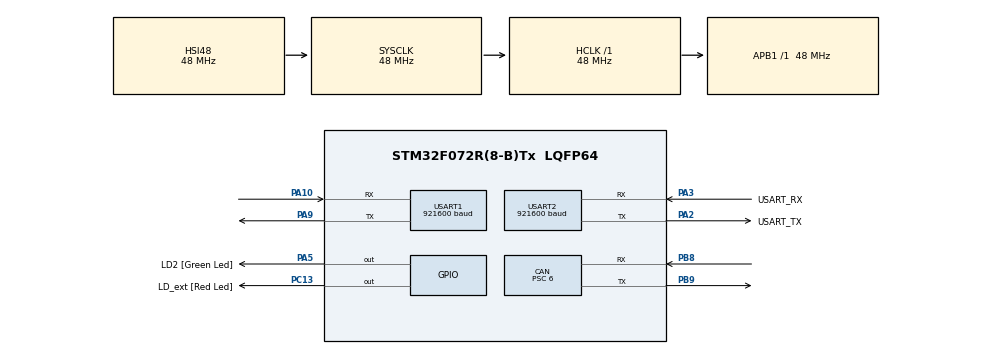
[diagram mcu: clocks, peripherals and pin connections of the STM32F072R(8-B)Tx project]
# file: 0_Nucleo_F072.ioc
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CAN.ABOM=ENABLE
CAN.AWUM=ENABLE
CAN.BS1=CAN_BS1_13TQ
CAN.BS2=CAN_BS2_2TQ
CAN.CalculateBaudRate=500000
CAN.CalculateTimeBit=2000
CAN.CalculateTimeQuantum=125.0
CAN.NART=DISABLE
CAN.Prescaler=6
Dma.Request0=USART1_RX
Dma.Request1=USART1_TX
Dma.Request2=USART2_TX
Dma.Request3=USART2_RX
Dma.USART1_RX.0.Direction=DMA_PERIPH_TO_MEMORY
Dma.USART1_RX.0.Instance=DMA1_Channel3
Dma.USART1_RX.0.MemDataAlignment=DMA_MDATAALIGN_BYTE
Dma.USART1_RX.0.MemInc=DMA_MINC_ENABLE
Dma.USART1_RX.0.Mode=DMA_NORMAL
Dma.USART1_RX.0.PeriphDataAlignment=DMA_PDATAALIGN_BYTE
Dma.USART1_RX.0.PeriphInc=DMA_PINC_DISABLE
Dma.USART1_RX.0.Priority=DMA_PRIORITY_LOW
Dma.USART1_TX.1.Direction=DMA_MEMORY_TO_PERIPH
Dma.USART1_TX.1.Instance=DMA1_Channel2
Dma.USART1_TX.1.MemDataAlignment=DMA_MDATAALIGN_BYTE
Dma.USART1_TX.1.MemInc=DMA_MINC_ENABLE
Dma.USART1_TX.1.Mode=DMA_NORMAL
Dma.USART1_TX.1.PeriphDataAlignment=DMA_PDATAALIGN_BYTE
Dma.USART1_TX.1.PeriphInc=DMA_PINC_DISABLE
Dma.USART1_TX.1.Priority=DMA_PRIORITY_LOW
Dma.USART2_RX.3.Direction=DMA_PERIPH_TO_MEMORY
Dma.USART2_RX.3.Instance=DMA1_Channel5
Dma.USART2_RX.3.MemDataAlignment=DMA_MDATAALIGN_BYTE
Dma.USART2_RX.3.MemInc=DMA_MINC_ENABLE
Dma.USART2_RX.3.Mode=DMA_NORMAL
Dma.USART2_RX.3.PeriphDataAlignment=DMA_PDATAALIGN_BYTE
Dma.USART2_RX.3.PeriphInc=DMA_PINC_DISABLE
Dma.USART2_RX.3.Priority=DMA_PRIORITY_LOW
Dma.USART2_TX.2.Direction=DMA_MEMORY_TO_PERIPH
Dma.USART2_TX.2.Instance=DMA1_Channel4
Dma.USART2_TX.2.MemDataAlignment=DMA_MDATAALIGN_BYTE
Dma.USART2_TX.2.MemInc=DMA_MINC_ENABLE
Dma.USART2_TX.2.Mode=DMA_NORMAL
Dma.USART2_TX.2.PeriphDataAlignment=DMA_PDATAALIGN_BYTE
Dma.USART2_TX.2.PeriphInc=DMA_PINC_DISABLE
Dma.USART2_TX.2.Priority=DMA_PRIORITY_LOW
Mcu.Family=STM32F0
Mcu.Name=STM32F072R(8-B)Tx
Mcu.Package=LQFP64
NVIC.CEC_CAN_IRQn=true\:0\:0\:false\:false\:true\:true\:true\:true
NVIC.DMA1_Channel2_3_IRQn=true\:0\:0\:false\:false\:true\:false\:true\:true
NVIC.DMA1_Channel4_5_6_7_IRQn=true\:0\:0\:false\:false\:true\:false\:true\:true
NVIC.TIM17_IRQn=true\:0\:0\:false\:false\:true\:true\:true\:true
NVIC.USART1_IRQn=true\:0\:0\:false\:false\:true\:true\:true\:true
NVIC.USART2_IRQn=true\:0\:0\:false\:false\:true\:true\:true\:true
PA10.Mode=Asynchronous
PA10.Signal=USART1_RX
PA13.GPIO_Label=TMS
PA13.Mode=Serial_Wire
PA13.Signal=SYS_SWDIO
PA14.GPIO_Label=TCK
PA14.Mode=Serial_Wire
PA14.Signal=SYS_SWCLK
PA2.GPIO_Label=USART_TX
PA2.GPIO_Mode=GPIO_MODE_AF_PP
PA2.GPIO_PuPd=GPIO_NOPULL
PA2.GPIO_Speed=GPIO_SPEED_FREQ_LOW
PA2.Mode=Asynchronous
PA2.Signal=USART2_TX
PA3.GPIO_Label=USART_RX
PA3.GPIO_Mode=GPIO_MODE_AF_PP
PA3.GPIO_PuPd=GPIO_NOPULL
PA3.GPIO_Speed=GPIO_SPEED_FREQ_LOW
PA3.Mode=Asynchronous
PA3.Signal=USART2_RX
PA5.GPIO_Label=LD2 [Green Led]
PA5.GPIO_Mode=GPIO_MODE_OUTPUT_PP
PA5.GPIO_PuPd=GPIO_NOPULL
PA5.GPIO_Speed=GPIO_SPEED_FREQ_LOW
PA5.Signal=GPIO_Output
PA9.Mode=Asynchronous
PA9.Signal=USART1_TX
PB8.GPIO_PuPd=GPIO_PULLUP
PB8.Mode=CAN_Activate
PB8.Signal=CAN_RX
PB9.GPIO_PuPd=GPIO_PULLUP
PB9.Mode=CAN_Activate
PB9.Signal=CAN_TX
PC13.GPIO_Label=LD_ext [Red Led]
PC13.GPIO_ModeDefaultOutputPP=GPIO_MODE_OUTPUT_OD
PC13.GPIO_PuPd=GPIO_NOPULL
PC13.Signal=GPIO_Output
PC14-OSC32_IN.Mode=LSE-External-Oscillator
PC14-OSC32_IN.Signal=RCC_OSC32_IN
PC15-OSC32_OUT.Mode=LSE-External-Oscillator
PC15-OSC32_OUT.Signal=RCC_OSC32_OUT
PF0-OSC_IN.Mode=HSE-External-Clock-Source
PF0-OSC_IN.Signal=RCC_OSC_IN
PF1-OSC_OUT.Signal=RCC_OSC_OUT
ProjectManager.HeapSize=0x800
ProjectManager.StackSize=0x800
ProjectManager.TargetToolchain=STM32CubeIDE
RCC.AHBFreq_Value=48000000
RCC.APB1Freq_Value=48000000
RCC.APB1TimFreq_Value=48000000
RCC.FLatency-AdvancedSettings=FLASH_LATENCY_1
RCC.HCLKFreq_Value=48000000
RCC.PLLDivider=RCC_PREDIV_DIV2
RCC.PLLMUL=RCC_PLL_MUL12
RCC.PLLSourceVirtual=RCC_PLLSOURCE_HSE
RCC.PREFETCH_ENABLE-AdvancedSettings=1
RCC.SYSCLKFreq_VALUE=48000000
RCC.SYSCLKSource=RCC_SYSCLKSOURCE_HSI48
TIM17.Period=999
TIM17.Prescaler=47
USART1.BaudRate=921600
USART1.StopBits=STOPBITS_2
USART1.VirtualMode-Asynchronous=VM_ASYNC
USART2.BaudRate=921600
USART2.StopBits=STOPBITS_2
USART2.VirtualMode=VM_ASYNC
USART2.VirtualMode-Asynchronous=VM_ASYNC
VP_TIM17_VS_ClockSourceINT.Mode=Enable_Timer
board=NUCLEO-F072RB

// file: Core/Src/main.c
/* USER CODE BEGIN Header */
/**
  ******************************************************************************
  * @file           : main.c
  * @brief          : Main program body
  ******************************************************************************
  * @attention
  *
  * Copyright (c) 2022 STMicroelectronics.
  * All rights reserved.
  * Nucleo-F072
  *
  ******************************************************************************
  */
/* USER CODE END Header */
#include "main.h"
#include "can.h"
#include "dma.h"
#include "tim.h"
#include "usart.h"
#include "gpio.h"

/* USER CODE BEGIN Includes */
#include "CO_app_STM32.h"
#include "301/CO_SDOclient.h"
#include "CANopen.h"
#include "OD.h"

/* USER CODE END Includes */

/* USER CODE BEGIN PV */
uint8_t Tx_Array[16]={0x51,0x62,0x73,0x84,0x55,0x46,0x87,0x18,0x29,0x10,0x11,0x12,0x13,0x14,0x15,0x33};
uint8_t Rx_Array[16]={0};
uint32_t Array_32u[16]={0};
uint8_t Array_8u[16]={0x54,0x34,0x21,0xea,0xf3,0x7a,0xd4,0x46};
uint8_t Length_of_Ext_Var=0;

CAN_TxHeaderTypeDef Tx_Header;
uint32_t            TxMailbox;
uint32_t            tmp32u_1   = 0x1e1f1a1b;
uint32_t            tmp32u_0   = 0x0e0f0a0b;
uint64_t            tmp64u_0   = 0x0e1f1a1b56789a;
uint64_t            tmp64u_1   = 0x0e1f1a1b56789a;
uint32_t            Ticks;
char String_0[]={"String_for_Test_UART"};

/* USER CODE END PV */

void SystemClock_Config(void);

/* USER CODE BEGIN 0 */
/* Timer interrupt function executes every 1 ms */
void
HAL_TIM_PeriodElapsedCallback(TIM_HandleTypeDef* htim) {
    if (htim == canopenNodeSTM32->timerHandle) {
        canopen_app_interrupt();
    }
}

CO_SDO_abortCode_t
read_SDO (
		  CO_SDOclient_t* SDO_C,
		  uint8_t nodeId,
		  uint16_t index,
		  uint8_t subIndex,
		  uint8_t* buf,
		  size_t bufSize,
		  size_t* readSize
		  )
{
    CO_SDO_return_t SDO_ret;

    // setup client (this can be skipped, if remote device don't change)
    SDO_ret = CO_SDOclient_setup (
    								SDO_C, CO_CAN_ID_SDO_CLI + nodeId,
									CO_CAN_ID_SDO_SRV + nodeId,
									nodeId);

    if (SDO_ret != CO_SDO_RT_ok_communicationEnd) { return CO_SDO_AB_GENERAL; }

    // initiate upload
    SDO_ret = CO_SDOclientUploadInitiate ( SDO_C,
    										index,
											subIndex,
											1000,
											false);

    if (SDO_ret != CO_SDO_RT_ok_communicationEnd) { return CO_SDO_AB_GENERAL; }

    // upload data
    do 	{
        uint32_t timeDifference_us = 10000;
        CO_SDO_abortCode_t abortCode = CO_SDO_AB_NONE;

        SDO_ret = CO_SDOclientUpload(SDO_C, timeDifference_us, false, &abortCode, NULL, NULL, NULL);

        if (SDO_ret < 0) {  return abortCode;  }

        HAL_Delay(timeDifference_us/1000);// sleep_us(timeDifference_us);

    	} while (SDO_ret > 0);

    // copy data to the user buffer (for long data function must be called several times inside the loop)
    *readSize = CO_SDOclientUploadBufRead(SDO_C, buf, bufSize);

    return CO_SDO_AB_NONE;
}

CO_SDO_abortCode_t
write_SDO (
			CO_SDOclient_t* SDO_C,
			uint8_t nodeId,
			uint16_t index,
			uint8_t subIndex,
			uint8_t* data,
			size_t dataSize
			)
{
    CO_SDO_return_t SDO_ret;
    bool_t bufferPartial = false;

    // setup client (this can be skipped, if remote device is the same)
    SDO_ret = CO_SDOclient_setup (	SDO_C,
    								CO_CAN_ID_SDO_CLI + nodeId,
									CO_CAN_ID_SDO_SRV + nodeId,
									nodeId);

    if (SDO_ret != CO_SDO_RT_ok_communicationEnd) { return -1; }

    // initiate download
    SDO_ret = CO_SDOclientDownloadInitiate(SDO_C, index, subIndex, dataSize, 1000, false);

    if (SDO_ret != CO_SDO_RT_ok_communicationEnd) /**< Success, end of communication. SDO client: uploaded data must be read. */
    	{ return -1; }

    // fill data
    size_t nWritten = CO_SDOclientDownloadBufWrite(SDO_C, data, dataSize);

    if (nWritten < dataSize) { bufferPartial = true; } // If SDO Fifo buffer is too small, data can be refilled in the loop.

    // download data
    do {
        uint32_t timeDifference_us = 10000;
        CO_SDO_abortCode_t abortCode = CO_SDO_AB_NONE;

        SDO_ret = CO_SDOclientDownload (	SDO_C,
        									timeDifference_us,
											false, bufferPartial,
											&abortCode,
											NULL,
											NULL
										);

        if (SDO_ret < 0) {  return abortCode;}

        HAL_Delay(timeDifference_us/1000); //sleep_us(timeDifference_us);

       } while (SDO_ret > 0);

    return CO_SDO_AB_NONE;
}

/* USER CODE END 0 */

int main(void)
{

  /* MCU Configuration--------------------------------------------------------*/

  /* Reset of all peripherals, Initializes the Flash interface and the Systick. */
  HAL_Init();

  /* Configure the system clock */
  SystemClock_Config();

  /* Initialize all configured peripherals */
  MX_GPIO_Init();
  MX_DMA_Init();
  MX_USART2_UART_Init();
  MX_CAN_Init();
  MX_TIM17_Init();
  MX_USART1_UART_Init();
  /* USER CODE BEGIN 2 */
  /* CANHandle : Pass in the CAN Handle to this function and it wil be used for all CAN Communications. It can be FDCan or CAN
   * and CANOpenSTM32 Driver will take of care of handling that
   * HWInitFunction : Pass in the function that initialize the CAN peripheral, usually MX_CAN_Init
   * timerHandle : Pass in the timer that is going to be used for generating 1ms interrupt for tmrThread function,
   * please note that CANOpenSTM32 Library will override HAL_TIM_PeriodElapsedCallback function, if you also need this function
   * in your codes, please take required steps
   * desiredNodeID : This is the Node ID that you ask the CANOpen stack to assign to your device, although it might not always
   * be the final NodeID, after calling canopen_app_init() you should check ActiveNodeID of CANopenNodeSTM32 structure for assigned Node ID.
   * baudrate: This is the baudrate you've set in your CubeMX Configuration
   *
   */

//  HAL_Delay(500);
//  HAL_UART_Transmit_DMA( &huart2, (uint8_t*)(String_0), 10);
//  while (1){}
 #if 0
  Tx_Header.IDE    = CAN_ID_STD;
  Tx_Header.ExtId  = 0;
  Tx_Header.DLC    = 8;
  Tx_Header.StdId  = 0x7EC;
  Tx_Header.RTR    = CAN_RTR_DATA;
  HAL_CAN_Start(&hcan);  HAL_Delay(1500);

  if(HAL_CAN_AddTxMessage( &hcan,
    		               &Tx_Header,
							Tx_Array, &TxMailbox )==HAL_OK
  	 )
	  {  /* Wait transmission complete */
	  //while(HAL_CAN_GetTxMailboxesFreeLevel(&hcan) != 3) {}
		  for(uint8_t cnt=0;cnt<22;cnt++)
		  {
		   HAL_GPIO_TogglePin(LD2_GPIO_Port, LD2_Pin);
		   HAL_Delay(46);
		  }
	  }
#endif

  for(uint8_t cnt=0;cnt<50;cnt++)
  {
  	HAL_GPIO_TogglePin(GPIOA, GPIO_PIN_5 );
  	HAL_GPIO_TogglePin(GPIOC, GPIO_PIN_13 );
  HAL_Delay(33);
  }
 // HAL_GPIO_WritePin(GPIOA, GPIO_PIN_5, GPIO_PIN_RESET); HAL_Delay(2500);//off

  CANopenNodeSTM32 canOpenNodeSTM32;
  canOpenNodeSTM32.CANHandle = &hcan;
  canOpenNodeSTM32.HWInitFunction = MX_CAN_Init;
  canOpenNodeSTM32.timerHandle = &htim17;
  canOpenNodeSTM32.desiredNodeID = 0x48;			///72;	// = 0x21;
  canOpenNodeSTM32.baudrate = 125*4;
  canopen_app_init(&canOpenNodeSTM32);
  /* USER CODE END 2 */

  /* Infinite loop */
  /* USER CODE BEGIN WHILE */

	  read_SDO (
			    canOpenNodeSTM32.canOpenStack->SDOclient,
			  	103,										//remote desiredNodeID
				0x6047,										//Index_of_OD_variable_at_remote_NodeID
				0,											//Sub_Index_of_OD_variable
				Rx_Array,									//Saved_Received_Data
				4,											//Number_of_Byte_to_read
				(size_t*)&Length_of_Ext_Var );

	  HAL_Delay(100);

		huart2.gState = HAL_UART_STATE_READY;
		HAL_UART_Transmit_DMA( &huart2, (uint8_t*)Rx_Array, 8);

	  write_SDO(
			    canOpenNodeSTM32.canOpenStack->SDOclient,
			  	103,										//remote desiredNodeID
				0x6047,										//Index_of_OD_variable_at_remote_NodeID
				0,											//Sub_Index_of_OD_variable
				Array_8u,									//
				4);

	  HAL_Delay(100);

	  read_SDO (
			    canOpenNodeSTM32.canOpenStack->SDOclient,
			  	103,										//remote desiredNodeID
				0x6047,										//Index_of_OD_variable_at_remote_NodeID
				0,											//Sub_Index_of_OD_variable
				Rx_Array,									//Saved_Received_Data
				4,											//Number_of_Byte_to_read
				(size_t*)&Length_of_Ext_Var );

	  HAL_Delay(100);

		huart2.gState = HAL_UART_STATE_READY;
		HAL_UART_Transmit_DMA( &huart2, (uint8_t*)Rx_Array, 8);

		HAL_Delay(100);

  while (1)
  {
	  HAL_GPIO_WritePin(GPIOA, GPIO_PIN_5  , canOpenNodeSTM32.outStatusLEDGreen);//включение
	  HAL_GPIO_WritePin(GPIOC, GPIO_PIN_13 ,!canOpenNodeSTM32.outStatusLEDRed  );//включение с инверсией

	canopen_app_process();

//	if(tmp32u_1 != OD_PERSIST_COMM.x6001_nucleo_VAR32_6001)
//		{
//		tmp32u_1 = OD_PERSIST_COMM.x6001_nucleo_VAR32_6001;
//		huart2.gState = HAL_UART_STATE_READY;
//		HAL_UART_Transmit_DMA( &huart2, (uint8_t*)(&tmp32u_1), 4);
//		//HAL_UART_Transmit_DMA( &huart2, (uint8_t*)( Ticks ), 4);
//		}

	  if(HAL_GetTick() - Ticks>749)
	  {
		Ticks = HAL_GetTick();

		OD_PERSIST_COMM.x6000_nucleo_VAR32_6000++;
		tmp32u_0 = OD_PERSIST_COMM.x6000_nucleo_VAR32_6000;
//		OD_set_f32(
//					OD_find(OD, 0x6000),
//					0,
//					tmp32u_0,
//					0);
		CO_TPDOsendRequest(&canOpenNodeSTM32.canOpenStack->TPDO[0] );
		huart2.gState = HAL_UART_STATE_READY;
		HAL_UART_Transmit_DMA( &huart2, (uint8_t*)( &tmp32u_0 ), 4);
	  }

    /* USER CODE END WHILE */

  }
}

void SystemClock_Config(void)
{
  RCC_OscInitTypeDef RCC_OscInitStruct = {0};
  RCC_ClkInitTypeDef RCC_ClkInitStruct = {0};
  RCC_PeriphCLKInitTypeDef PeriphClkInit = {0};

  /** Initializes the RCC Oscillators according to the specified parameters
  * in the RCC_OscInitTypeDef structure.
  */
  RCC_OscInitStruct.OscillatorType = RCC_OSCILLATORTYPE_HSI48;
  RCC_OscInitStruct.HSI48State = RCC_HSI48_ON;
  RCC_OscInitStruct.PLL.PLLState = RCC_PLL_NONE;
  if (HAL_RCC_OscConfig(&RCC_OscInitStruct) != HAL_OK)
  {
    Error_Handler();
  }

  /** Initializes the CPU, AHB and APB buses clocks
  */
  RCC_ClkInitStruct.ClockType = RCC_CLOCKTYPE_HCLK|RCC_CLOCKTYPE_SYSCLK
                              |RCC_CLOCKTYPE_PCLK1;
  RCC_ClkInitStruct.SYSCLKSource = RCC_SYSCLKSOURCE_HSI48;
  RCC_ClkInitStruct.AHBCLKDivider = RCC_SYSCLK_DIV1;
  RCC_ClkInitStruct.APB1CLKDivider = RCC_HCLK_DIV1;

  if (HAL_RCC_ClockConfig(&RCC_ClkInitStruct, FLASH_LATENCY_1) != HAL_OK)
  {
    Error_Handler();
  }
  PeriphClkInit.PeriphClockSelection = RCC_PERIPHCLK_USART1|RCC_PERIPHCLK_USART2;
  PeriphClkInit.Usart1ClockSelection = RCC_USART1CLKSOURCE_PCLK1;
  PeriphClkInit.Usart2ClockSelection = RCC_USART2CLKSOURCE_PCLK1;
  if (HAL_RCCEx_PeriphCLKConfig(&PeriphClkInit) != HAL_OK)
  {
    Error_Handler();
  }
}

void Error_Handler(void)
{
  __disable_irq();
  while (1)
  {
  }
}
